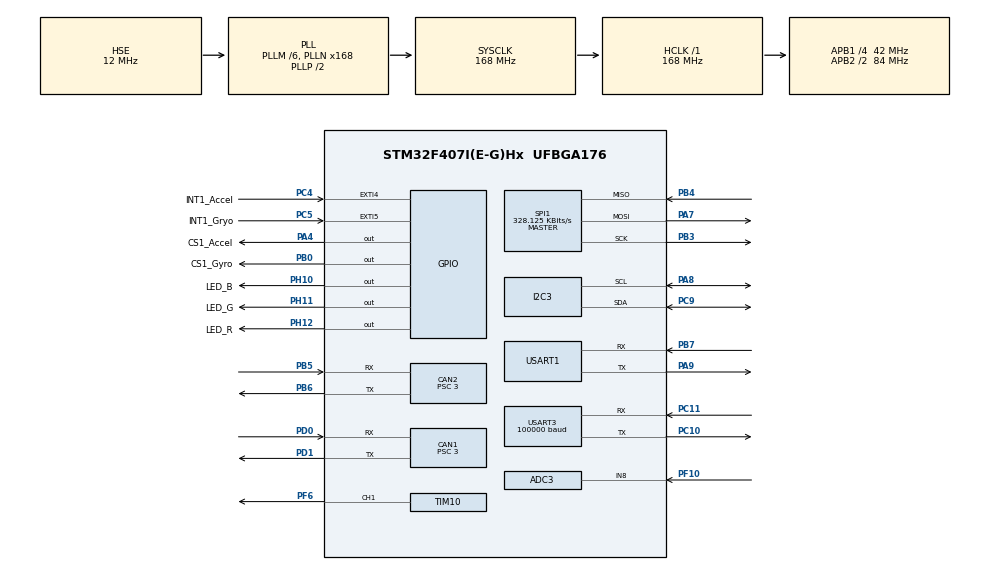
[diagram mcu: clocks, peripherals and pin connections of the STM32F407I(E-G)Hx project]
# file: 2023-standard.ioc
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ADC1.Channel-0\#ChannelRegularConversion=ADC_CHANNEL_VREFINT
ADC1.NbrOfConversionFlag=1
ADC1.Rank-0\#ChannelRegularConversion=1
ADC1.SamplingTime-0\#ChannelRegularConversion=ADC_SAMPLETIME_3CYCLES
ADC1.master=1
ADC3.Channel-0\#ChannelRegularConversion=ADC_CHANNEL_8
ADC3.NbrOfConversionFlag=1
ADC3.Rank-0\#ChannelRegularConversion=1
ADC3.SamplingTime-0\#ChannelRegularConversion=ADC_SAMPLETIME_3CYCLES
CAN1.BS1=CAN_BS1_10TQ
CAN1.BS2=CAN_BS2_3TQ
CAN1.CalculateBaudRate=1000000
CAN1.CalculateTimeBit=1000
CAN1.CalculateTimeQuantum=71.42857142857143
CAN1.Prescaler=3
CAN2.BS1=CAN_BS1_10TQ
CAN2.BS2=CAN_BS2_3TQ
CAN2.CalculateBaudRate=1000000
CAN2.CalculateTimeBit=1000
CAN2.CalculateTimeQuantum=71.42857142857143
CAN2.Prescaler=3
Dma.Request0=USART1_TX
Dma.Request1=USART3_RX
Dma.Request2=SPI1_RX
Dma.Request3=SPI1_TX
Dma.SPI1_RX.2.Direction=DMA_PERIPH_TO_MEMORY
Dma.SPI1_RX.2.FIFOMode=DMA_FIFOMODE_DISABLE
Dma.SPI1_RX.2.Instance=DMA2_Stream2
Dma.SPI1_RX.2.MemDataAlignment=DMA_MDATAALIGN_BYTE
Dma.SPI1_RX.2.MemInc=DMA_MINC_ENABLE
Dma.SPI1_RX.2.Mode=DMA_NORMAL
Dma.SPI1_RX.2.PeriphDataAlignment=DMA_PDATAALIGN_BYTE
Dma.SPI1_RX.2.PeriphInc=DMA_PINC_DISABLE
Dma.SPI1_RX.2.Priority=DMA_PRIORITY_VERY_HIGH
Dma.SPI1_TX.3.Direction=DMA_MEMORY_TO_PERIPH
Dma.SPI1_TX.3.FIFOMode=DMA_FIFOMODE_DISABLE
Dma.SPI1_TX.3.Instance=DMA2_Stream3
Dma.SPI1_TX.3.MemDataAlignment=DMA_MDATAALIGN_BYTE
Dma.SPI1_TX.3.MemInc=DMA_MINC_ENABLE
Dma.SPI1_TX.3.Mode=DMA_NORMAL
Dma.SPI1_TX.3.PeriphDataAlignment=DMA_PDATAALIGN_BYTE
Dma.SPI1_TX.3.PeriphInc=DMA_PINC_DISABLE
Dma.SPI1_TX.3.Priority=DMA_PRIORITY_HIGH
Dma.USART1_TX.0.Direction=DMA_MEMORY_TO_PERIPH
Dma.USART1_TX.0.FIFOMode=DMA_FIFOMODE_DISABLE
Dma.USART1_TX.0.Instance=DMA2_Stream7
Dma.USART1_TX.0.MemDataAlignment=DMA_MDATAALIGN_BYTE
Dma.USART1_TX.0.MemInc=DMA_MINC_ENABLE
Dma.USART1_TX.0.Mode=DMA_NORMAL
Dma.USART1_TX.0.PeriphDataAlignment=DMA_PDATAALIGN_BYTE
Dma.USART1_TX.0.PeriphInc=DMA_PINC_DISABLE
Dma.USART1_TX.0.Priority=DMA_PRIORITY_VERY_HIGH
Dma.USART3_RX.1.Direction=DMA_PERIPH_TO_MEMORY
Dma.USART3_RX.1.FIFOMode=DMA_FIFOMODE_DISABLE
Dma.USART3_RX.1.Instance=DMA1_Stream1
Dma.USART3_RX.1.MemDataAlignment=DMA_MDATAALIGN_BYTE
Dma.USART3_RX.1.MemInc=DMA_MINC_ENABLE
Dma.USART3_RX.1.Mode=DMA_NORMAL
Dma.USART3_RX.1.PeriphDataAlignment=DMA_PDATAALIGN_BYTE
Dma.USART3_RX.1.PeriphInc=DMA_PINC_DISABLE
Dma.USART3_RX.1.Priority=DMA_PRIORITY_VERY_HIGH
I2C3.I2C_Mode=I2C_Fast
Mcu.Family=STM32F4
Mcu.Name=STM32F407I(E-G)Hx
Mcu.Package=UFBGA176
NVIC.CAN1_RX0_IRQn=true\:0\:0\:false\:false\:true\:true\:true\:true
NVIC.CAN2_RX0_IRQn=true\:0\:0\:false\:false\:true\:true\:true\:true
NVIC.DMA1_Stream1_IRQn=true\:0\:0\:false\:false\:true\:false\:true\:true
NVIC.DMA2_Stream2_IRQn=true\:0\:0\:false\:false\:true\:false\:true\:true
NVIC.DMA2_Stream3_IRQn=true\:0\:0\:false\:false\:true\:false\:true\:true
NVIC.DMA2_Stream7_IRQn=true\:0\:0\:false\:false\:true\:false\:true\:true
NVIC.EXTI4_IRQn=true\:0\:0\:false\:false\:true\:true\:true\:true
NVIC.EXTI9_5_IRQn=true\:0\:0\:false\:false\:true\:true\:true\:true
NVIC.PriorityGroup=NVIC_PRIORITYGROUP_4
NVIC.USART1_IRQn=true\:0\:0\:false\:false\:true\:true\:true\:true
NVIC.USART3_IRQn=true\:0\:0\:false\:false\:true\:true\:true\:true
PA13.Mode=Serial_Wire
PA13.Signal=SYS_JTMS-SWDIO
PA14.Mode=Serial_Wire
PA14.Signal=SYS_JTCK-SWCLK
PA4.GPIO_Label=CS1_Accel
PA4.GPIO_PuPd=GPIO_PULLUP
PA4.GPIO_Speed=GPIO_SPEED_FREQ_HIGH
PA4.PinState=GPIO_PIN_SET
PA4.Signal=GPIO_Output
PA7.Mode=Full_Duplex_Master
PA7.Signal=SPI1_MOSI
PA8.Mode=I2C
PA8.Signal=I2C3_SCL
PA9.Mode=Asynchronous
PA9.Signal=USART1_TX
PB0.GPIO_Label=CS1_Gyro
PB0.GPIO_PuPd=GPIO_PULLUP
PB0.GPIO_Speed=GPIO_SPEED_FREQ_HIGH
PB0.PinState=GPIO_PIN_SET
PB0.Signal=GPIO_Output
PB3.Mode=Full_Duplex_Master
PB3.Signal=SPI1_SCK
PB4.Mode=Full_Duplex_Master
PB4.Signal=SPI1_MISO
PB5.Mode=CAN_Activate
PB5.Signal=CAN2_RX
PB6.Mode=CAN_Activate
PB6.Signal=CAN2_TX
PB7.Mode=Asynchronous
PB7.Signal=USART1_RX
PC10.Mode=Asynchronous
PC10.Signal=USART3_TX
PC11.Mode=Asynchronous
PC11.Signal=USART3_RX
PC4.GPIO_Label=INT1_Accel
PC4.GPIO_ModeDefaultEXTI=GPIO_MODE_IT_FALLING
PC4.GPIO_PuPd=GPIO_PULLUP
PC4.Signal=GPXTI4
PC5.GPIO_Label=INT1_Gryo
PC5.GPIO_ModeDefaultEXTI=GPIO_MODE_IT_FALLING
PC5.GPIO_PuPd=GPIO_PULLUP
PC5.Signal=GPXTI5
PC9.Mode=I2C
PC9.Signal=I2C3_SDA
PD0.Mode=CAN_Activate
PD0.Signal=CAN1_RX
PD1.Mode=CAN_Activate
PD1.Signal=CAN1_TX
PF10.Mode=IN8
PF10.Signal=ADC3_IN8
PF6.GPIO_PuPd=GPIO_PULLUP
PF6.GPIO_Speed=GPIO_SPEED_FREQ_HIGH
PF6.Signal=S_TIM10_CH1
PH0-OSC_IN.Mode=HSE-External-Oscillator
PH0-OSC_IN.Signal=RCC_OSC_IN
PH1-OSC_OUT.Mode=HSE-External-Oscillator
PH1-OSC_OUT.Signal=RCC_OSC_OUT
PH10.GPIO_Label=LED_B
PH10.GPIO_ModeDefaultOutputPP=GPIO_MODE_OUTPUT_PP
PH10.GPIO_PuPd=GPIO_PULLUP
PH10.GPIO_Speed=GPIO_SPEED_FREQ_MEDIUM
PH10.PinState=GPIO_PIN_RESET
PH10.Signal=GPIO_Output
PH11.GPIO_Label=LED_G
PH11.GPIO_ModeDefaultOutputPP=GPIO_MODE_OUTPUT_PP
PH11.GPIO_PuPd=GPIO_PULLUP
PH11.GPIO_Speed=GPIO_SPEED_FREQ_MEDIUM
PH11.Signal=GPIO_Output
PH12.GPIO_Label=LED_R
PH12.GPIO_ModeDefaultOutputPP=GPIO_MODE_OUTPUT_PP
PH12.GPIO_PuPd=GPIO_PULLUP
PH12.GPIO_Speed=GPIO_SPEED_FREQ_MEDIUM
PH12.Signal=GPIO_Output
ProjectManager.HeapSize=0x200
ProjectManager.StackSize=0x400
ProjectManager.TargetToolchain=MDK-ARM V5
RCC.48MHZClocksFreq_Value=84000000
RCC.AHBFreq_Value=168000000
RCC.APB1CLKDivider=RCC_HCLK_DIV4
RCC.APB1Freq_Value=42000000
RCC.APB1TimFreq_Value=84000000
RCC.APB2CLKDivider=RCC_HCLK_DIV2
RCC.APB2Freq_Value=84000000
RCC.APB2TimFreq_Value=168000000
RCC.CortexFreq_Value=168000000
RCC.HCLKFreq_Value=168000000
RCC.HSE_VALUE=12000000
RCC.HSI_VALUE=16000000
RCC.LSE_VALUE=32768
RCC.PLLM=6
RCC.PLLN=168
RCC.PLLSourceVirtual=RCC_PLLSOURCE_HSE
RCC.SYSCLKFreq_VALUE=168000000
RCC.SYSCLKSource=RCC_SYSCLKSOURCE_PLLCLK
RCC.VCOOutputFreq_Value=336000000
SH.S_TIM10_CH1.0=TIM10_CH1,PWM Generation1 CH1
SPI1.BaudRatePrescaler=SPI_BAUDRATEPRESCALER_256
SPI1.CLKPhase=SPI_PHASE_2EDGE
SPI1.CLKPolarity=SPI_POLARITY_HIGH
SPI1.CalculateBaudRate=328.125 KBits/s
SPI1.Direction=SPI_DIRECTION_2LINES
SPI1.Mode=SPI_MODE_MASTER
SPI1.VirtualType=VM_MASTER
TIM10.Channel=TIM_CHANNEL_1
TIM10.Period=4999
USART1.VirtualMode=VM_ASYNC
USART3.BaudRate=100000
USART3.VirtualMode=VM_ASYNC
VP_ADC1_Vref_Input.Mode=IN-Vrefint
VP_TIM10_VS_ClockSourceINT.Mode=Enable_Timer
board=custom

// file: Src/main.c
/* USER CODE BEGIN Header */
/**
  ******************************************************************************
  * @file           : main.c
  * @brief          : Main program body
  ******************************************************************************
  * @attention
  *
  * Copyright (c) 2023 STMicroelectronics.
  * All rights reserved.
  *
  * This software is licensed under terms that can be found in the LICENSE file
  * in the root directory of this software component.
  * If no LICENSE file comes with this software, it is provided AS-IS.
  *
  ******************************************************************************
  */
/* USER CODE END Header */
#include "main.h"
#include "adc.h"
#include "can.h"
#include "dma.h"
#include "i2c.h"
#include "spi.h"
#include "tim.h"
#include "usart.h"
#include "gpio.h"

/* USER CODE BEGIN Includes */
#include "motor.h"
#include "bsp_rc.h"
#include "bsp_pid.h"

/* USER CODE END Includes */

/* USER CODE BEGIN PV */
const RC_ctrl_t *local_rc_ctrl;
/* USER CODE END PV */

void SystemClock_Config(void);

/* USER CODE BEGIN 0 */
float real_err;
float PIDx[3];
float PIDgx[3];
float FCCx[3];

float motor_ecd_to_angle_change(uint16_t ecd, uint16_t offset_ecd)
{
    int32_t relative_ecd =0;
		relative_ecd = ecd-offset_ecd;
    if (relative_ecd > 4096)
    {
        relative_ecd -= 8191;
    }
    else if (relative_ecd < -4096)
    {
        relative_ecd += 8191;
    }

    return relative_ecd * 0.04395068f;
}
float target_speed=3000;
uint8_t x=7;
PID_TypeDef pid;
PID_TypeDef pidg;
float	relative_ecd;
float set;
float speed;
float c;
/* USER CODE END 0 */

int main(void)
{
  /* USER CODE BEGIN 1 */
	PIDx[0]=13.f;

	PIDx[1]=0.5f;

	PIDx[2]=0.f;
  pid.iout_MAX=2500;
	pid.out_MAX=16000;

	PIDgx[0]=60.f;

	PIDgx[1]=0.05f;

	PIDgx[2]=0.f;

	pidg.iout_MAX=2500;
	pidg.out_MAX=30000;
  /* USER CODE END 1 */

  /* MCU Configuration--------------------------------------------------------*/

  /* Reset of all peripherals, Initializes the Flash interface and the Systick. */
  HAL_Init();

  /* Configure the system clock */
  SystemClock_Config();

  /* Initialize all configured peripherals */
  MX_GPIO_Init();
  MX_DMA_Init();
  MX_CAN1_Init();
  MX_CAN2_Init();
  MX_USART1_UART_Init();
  MX_USART3_UART_Init();
  MX_ADC1_Init();
  MX_ADC3_Init();
  MX_I2C3_Init();
  MX_SPI1_Init();
  MX_TIM10_Init();
  /* USER CODE BEGIN 2 */
	can_filter_init();
  PID_init(&pid,PIDx,pid.out_MAX,pid.iout_MAX);
  PID_init(&pidg,PIDgx,pidg.out_MAX,pidg.iout_MAX);
	remote_control_init();
	usart1_tx_dma_init();
	local_rc_ctrl = get_remote_control_point();

  /* USER CODE END 2 */

  /* Infinite loop */
  while (1)
  {

    /* USER CODE BEGIN 3 */
   relative_ecd=motor_ecd_to_angle_change(Chassis_Motor[5].Data.ecd,4096);
	 real_err = c - relative_ecd;
//		if(real_err > 180)real_err = real_err-360;
//		else if(real_err < -180)real_err = real_err+360;
		set=PID_calc(&pidg,0,real_err);
		speed=PID_calc(&pid,Chassis_Motor[5].Data.speed_rpm,set);
		CAN_cmd_gimbal(0,speed,0,0);
		HAL_Delay(2);
  }
  /* USER CODE END 3 */
}

void SystemClock_Config(void)
{
  RCC_OscInitTypeDef RCC_OscInitStruct = {0};
  RCC_ClkInitTypeDef RCC_ClkInitStruct = {0};

  /** Configure the main internal regulator output voltage
  */
  __HAL_RCC_PWR_CLK_ENABLE();
  __HAL_PWR_VOLTAGESCALING_CONFIG(PWR_REGULATOR_VOLTAGE_SCALE1);

  /** Initializes the RCC Oscillators according to the specified parameters
  * in the RCC_OscInitTypeDef structure.
  */
  RCC_OscInitStruct.OscillatorType = RCC_OSCILLATORTYPE_HSE;
  RCC_OscInitStruct.HSEState = RCC_HSE_ON;
  RCC_OscInitStruct.PLL.PLLState = RCC_PLL_ON;
  RCC_OscInitStruct.PLL.PLLSource = RCC_PLLSOURCE_HSE;
  RCC_OscInitStruct.PLL.PLLM = 6;
  RCC_OscInitStruct.PLL.PLLN = 168;
  RCC_OscInitStruct.PLL.PLLP = RCC_PLLP_DIV2;
  RCC_OscInitStruct.PLL.PLLQ = 4;
  if (HAL_RCC_OscConfig(&RCC_OscInitStruct) != HAL_OK)
  {
    Error_Handler();
  }

  /** Initializes the CPU, AHB and APB buses clocks
  */
  RCC_ClkInitStruct.ClockType = RCC_CLOCKTYPE_HCLK|RCC_CLOCKTYPE_SYSCLK
                              |RCC_CLOCKTYPE_PCLK1|RCC_CLOCKTYPE_PCLK2;
  RCC_ClkInitStruct.SYSCLKSource = RCC_SYSCLKSOURCE_PLLCLK;
  RCC_ClkInitStruct.AHBCLKDivider = RCC_SYSCLK_DIV1;
  RCC_ClkInitStruct.APB1CLKDivider = RCC_HCLK_DIV4;
  RCC_ClkInitStruct.APB2CLKDivider = RCC_HCLK_DIV2;

  if (HAL_RCC_ClockConfig(&RCC_ClkInitStruct, FLASH_LATENCY_5) != HAL_OK)
  {
    Error_Handler();
  }
}

void Error_Handler(void)
{
  __disable_irq();
  while (1)
  {
  }
}
